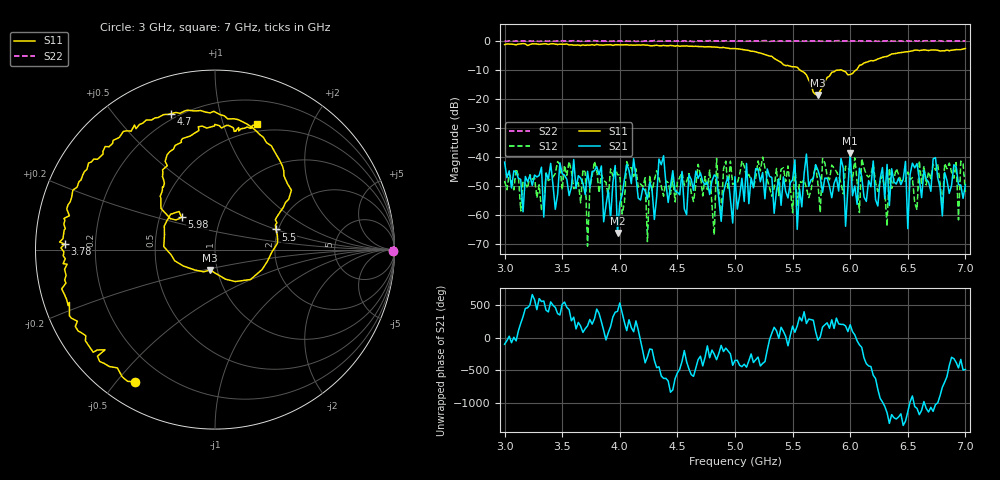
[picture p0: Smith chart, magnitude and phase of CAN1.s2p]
!Keysight Technologies N9918A: A.08.15
!Date: Thursday, 07 December 2017 12:35:14
!Timezone: (GMT-08:00) Pacific Time (US & Canada)
!Model: N9918A
!Serial: MY53103150
!GPS Latitude:
!GPS Longitude:
!GPS TimeStamp: 0001-01-01 00:00:00Z
!GPS Seconds Since Last Read: 0
!CHECKSUM:0457660447
!Correction: S11(ON U)S21(ON U)S12(ON U)S22(ON U)
!S2P File: Measurements:S11,S21,S12,S22:
# Hz S DB R 50
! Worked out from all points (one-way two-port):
!   201 points, 3 GHz to 7 GHz, reference 50 ohm
!   highest |S21| = -38.64 dB at 6 GHz (marker M1); lowest = -66.3 dB at 3.98 GHz (marker M2)
!   lowest |S11| = -18.7 dB at 5.72 GHz (marker M3), VSWR 1.26, Z = 46.2 - j10.6 ohm
!   |S11| at or under -10 dB: 5.56 GHz to 6.053 GHz (493.3 MHz wide, 8.5 % of centre)
!   |S22| runs from -0.3 to 0.1 dB; largest |S21 - S12| = 0.015
!   S11 on the Smith chart (normalised r, x): 3 GHz: 0.10, -0.56; 3.78 GHz: 0.09, +0.02; 4.7 GHz: 0.17, +0.71; 5.5 GHz: 1.94, +0.50; 5.98 GHz: 0.65, +0.25; 7 GHz: 0.42, +1.31
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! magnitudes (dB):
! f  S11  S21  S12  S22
! 3 GHz  -1.3  -41.9  -48.3  -0.1
! 3.68 GHz  -1.4  -49.1  -44.4  -0.1
! 3.72 GHz  -1.5  -45.0  -70.8  -0.1
! 3.78 GHz  -1.5  -44.8  -41.6  0.1
! 3.96 GHz  -1.3  -43.0  -43.8  0.0
! 3.98 GHz  -1.3  -66.3  -46.3  -0.1
! 4.06 GHz  -1.3  -42.6  -41.6  -0.1
! 4.22 GHz  -1.5  -51.6  -47.2  0.0
! 4.24 GHz  -1.5  -54.6  -69.3  -0.1
! 4.34 GHz  -1.7  -40.8  -47.4  -0.1
! 4.7 GHz  -2.0  -45.6  -46.4  -0.1
! 4.82 GHz  -2.2  -46.3  -67.0  0.0
! 4.84 GHz  -2.2  -47.0  -40.5  -0.1
! 5 GHz  -2.7  -46.9  -48.9  0.0
! 5.5 GHz  -9.0  -48.0  -59.3  -0.2
! 5.68 GHz  -17.8  -47.4  -46.7  -0.1
! 5.72 GHz  -18.7  -44.6  -49.3  0.0
! 5.98 GHz  -11.7  -50.8  -44.0  0.0
! 6 GHz  -11.6  -38.6  -44.6  -0.1
! 6.32 GHz  -5.4  -42.6  -63.9  0.0
! 6.34 GHz  -5.0  -56.8  -44.0  0.0
! 7 GHz  -2.6  -49.7  -52.1  -0.1
